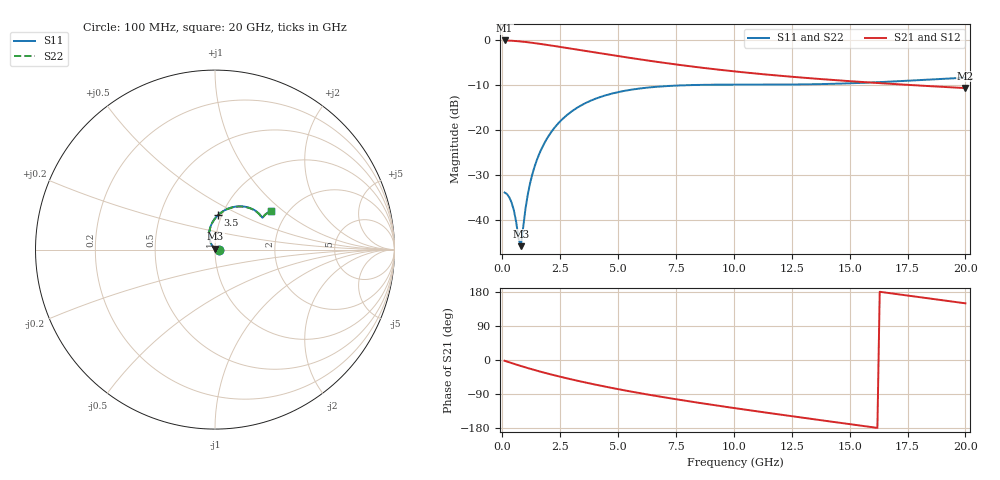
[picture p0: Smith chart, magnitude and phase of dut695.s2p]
! Touchstone file exported from HFSS 2024.1.0
!  File:  C:/UserFiles/LocalFiles/RDL_TSV_Batchsim/temp_RDL_TSV_695_1779820082.aedt
!  Generated:  02:42:49 AM May 27, 2026
!  Design:  RDL_TSV
!  Project:  temp_RDL_TSV_695_1779820082
!  Setup:  Setup1
!  Solution:  Sweep
! Variables:
!  dtsv = 12.82um
!  hbump = 3um
!  htsv = 94.2um
!  ldown = 333.47um
!  lrdl = 387.77um
!  p = 40
!  p1 = 52.47um
!  rhole = 10um
!  subl = 2551.49um
!  t = 450um
!  tdown = 3.07um
!  trdl = 3.88um
!  viad = 10um
!  wdown = 11.32um
!  wrdl = 13.59um
!  xbump = 18um
# GHz S MA R 50.000000
! Terminal data exported
! Port[1] = TM1_1_T1
! Port[2] = TM1_4_T1
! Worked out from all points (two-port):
!   200 points, 100 MHz to 20 GHz, reference 50 ohm
!   highest |S21| = -0.18 dB at 100 MHz (marker M1); lowest = -10.7 dB at 20 GHz (marker M2)
!   |S21| within 3 dB of the highest: start of sweep to 4.434 GHz
!   lowest |S11| = -45.8 dB at 800 MHz (marker M3), VSWR 1.01, Z = 50.2 + j0.485 ohm
!   |S11| at or under -10 dB: start of sweep to 8.884 GHz
!   |S22| runs from -45.7 to -8.5 dB; largest |S21 - S12| = 3.7e-14
!   S11 on the Smith chart (normalised r, x): 100 MHz: 1.04, -0.00; 3.5 GHz: 0.96, +0.38; 20 GHz: 1.66, +0.82
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0.1  0.02025 -0.5  0.979 -2.0  0.979 -2.0  0.02025 -0.5
! Gamma 0 0 0 0
! Port Impedance 50 0 50 0
0.3  0.01798 -2.6  0.9751 -6.1  0.9751 -6.1  0.01798 -2.6
0.4  0.01573 -2.8  0.972 -8.1  0.972 -8.1  0.01574 -2.8
0.5  0.01287 -1.1  0.9683 -10.0  0.9683 -10.0  0.01288 -1.1
0.6  0.009556 4.9  0.964 -12.0  0.964 -12.0  0.009574 4.9
0.7  0.00631 23.3  0.9592 -13.9  0.9592 -13.9  0.006332 23.1
0.8  0.005156 69.6  0.9539 -15.8  0.9539 -15.8  0.005159 69.2
1  0.01331 119.6  0.942 -19.5  0.942 -19.5  0.01326 119.4
1.1  0.01925 123.9  0.9355 -21.3  0.9355 -21.3  0.01918 123.8
1.3  0.03251 124.7  0.9217 -24.9  0.9217 -24.9  0.03241 124.6
1.6  0.05451 120.5  0.8996 -30.0  0.8996 -30.0  0.05437 120.4
2  0.08568 112.6  0.869 -36.5  0.869 -36.5  0.08546 112.5
2.4  0.1169 104.5  0.8381 -42.6  0.8381 -42.6  0.1166 104.5
2.9  0.1537 95.1  0.8003 -49.9  0.8003 -49.9  0.1533 95.0
3.5  0.1927 85.1  0.7565 -58.2  0.7565 -58.2  0.1921 85.0
4.9  0.2585 66.6  0.6638 -75.7  0.6638 -75.7  0.2577 66.5
6.8  0.3022 50.2  0.5617 -96.5  0.5617 -96.5  0.3011 50.1
8.4  0.3148 41.7  0.4962 -112.1  0.4962 -112.1  0.3136 41.7
10.1  0.3174 36.6  0.4428 -127.6  0.4428 -127.6  0.3161 36.5
13.4  0.3203 34.0  0.3716 -155.9  0.3716 -155.9  0.319 34.0
16.7  0.3422 34.9  0.3248 176.7  0.3248 176.7  0.341 34.9
20  0.379 34.2  0.2904 149.6  0.2904 149.6  0.3779 34.2
